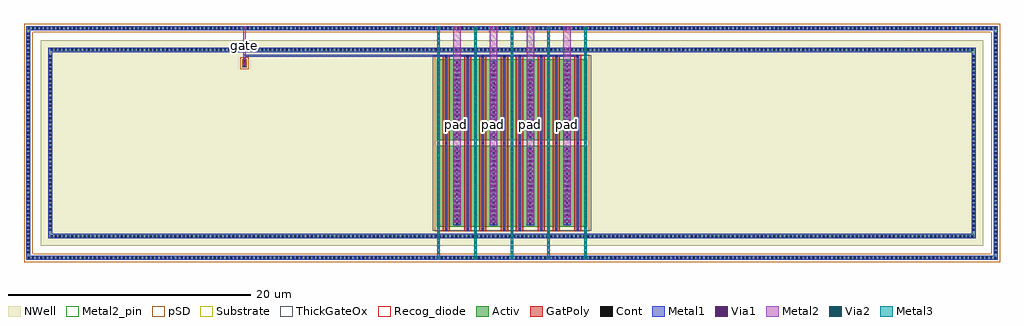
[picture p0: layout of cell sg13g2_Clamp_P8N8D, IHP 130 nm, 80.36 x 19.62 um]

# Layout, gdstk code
import gdstk
lib = gdstk.Library(unit=1e-6, precision=1e-09)
def R(c, l, rs):  # rectangles x0, y0, x1, y1
    for r in rs: c.add(gdstk.rectangle(r[:2], r[2:], *l))
def A(c, l, x, y, w, h, nx, ny, dx, dy):  # array of equal rectangles
    R(c, l, [(x+i*dx, y+j*dy, x+i*dx+w, y+j*dy+h) for i in range(nx) for j in range(ny)])
def P(c, l, *ps):  # polygons
    for p in ps: c.add(gdstk.Polygon(p, *l))
Activ = (1, 0)
GatPoly = (5, 0)
Cont = (6, 0)
Metal1 = (8, 0)
Metal2 = (10, 0)
Metal2_pin = (10, 2)
pSD = (14, 0)
Via1 = (19, 0)
Via2 = (29, 0)
Metal3 = (30, 0)
NWell = (31, 0)
Substrate = (40, 0)
ThickGateOx = (44, 0)
Recog_diode = (99, 31)

sg13g2_guardring_p16000w = lib.new_cell('sg13g2_GuardRing_P16000W3852HFF')
P(sg13g2_guardring_p16000w, Activ, [(-40,-9.63),(-40,9.29),(-39.66,9.29),(-39.66,-9.29),(39.66,-9.29),(39.66,9.29),(-40,9.29),(-40,9.63),(40,9.63),(40,-9.63)])
A(sg13g2_guardring_p16000w, Cont, -39.86, -9.54, 0.16, 0.16, 235, 2, 0.34, 18.92)
A(sg13g2_guardring_p16000w, Cont, -39.91, -9.09, 0.16, 0.16, 1, 54, 0, 0.34)
A(sg13g2_guardring_p16000w, Cont, 39.75, -9.09, 0.16, 0.16, 1, 54, 0, 0.34)
P(sg13g2_guardring_p16000w, Metal1, [(-40,-9.63),(-40,9.29),(-39.66,9.29),(-39.66,-9.29),(39.66,-9.29),(39.66,9.29),(-40,9.29),(-40,9.63),(40,9.63),(40,-9.63)])
P(sg13g2_guardring_p16000w, pSD, [(-40.18,-9.81),(-40.18,9.11),(-39.48,9.11),(-39.48,-9.11),(39.48,-9.11),(39.48,9.11),(-40.18,9.11),(-40.18,9.81),(40.18,9.81),(40.18,-9.81)])
P(sg13g2_guardring_p16000w, Substrate, [(-40,-9.63),(-40,9.29),(-39.66,9.29),(-39.66,-9.29),(39.66,-9.29),(39.66,9.29),(-40,9.29),(-40,9.63),(40,9.63),(40,-9.63)])
sg13g2_guardring_p16000w.add(gdstk.Label('sub!', (-39.83,-9.46), layer=63, texttype=0))

sg13g2_guardring_n15280w = lib.new_cell('sg13g2_GuardRing_N15280W3132HTF')
P(sg13g2_guardring_n15280w, Activ, [(-38.2,-7.83),(-38.2,7.49),(-37.86,7.49),(-37.86,-7.49),(37.86,-7.49),(37.86,7.49),(-38.2,7.49),(-38.2,7.83),(38.2,7.83),(38.2,-7.83)])
A(sg13g2_guardring_n15280w, Cont, -37.99, -7.74, 0.16, 0.16, 224, 2, 0.34, 15.32)
A(sg13g2_guardring_n15280w, Cont, -38.11, -7.22, 0.16, 0.16, 1, 43, 0, 0.34)
A(sg13g2_guardring_n15280w, Cont, 37.95, -7.22, 0.16, 0.16, 1, 43, 0, 0.34)
P(sg13g2_guardring_n15280w, Metal1, [(-38.2,-7.83),(-38.2,7.49),(-37.86,7.49),(-37.86,-7.49),(37.86,-7.49),(37.86,7.49),(-38.2,7.49),(-38.2,7.83),(38.2,7.83),(38.2,-7.83)])
R(sg13g2_guardring_n15280w, NWell, [(-38.82,-8.45,38.82,8.45)])

sg13g2_clamp_p8n8d = lib.new_cell('sg13g2_Clamp_P8N8D')
R(sg13g2_clamp_p8n8d, Activ, [(33.81,2.75,46.19,9.41), (33.81,9.85,46.19,16.51), (17.825,15.87,18.125,16.51)])
R(sg13g2_clamp_p8n8d, GatPoly, [(34.28,2.38,34.88,16.88), (36.06,2.38,36.66,16.88), (37.3,2.38,37.9,16.88), (39.08,2.38,39.68,16.88), (40.32,2.38,40.92,16.88), (42.1,2.38,42.7,16.88), (43.34,2.38,43.94,16.88), (45.12,2.38,45.72,16.88)])
A(sg13g2_clamp_p8n8d, Cont, 34.5, 2.45, 0.16, 0.16, 1, 3, 0, 7.1)
A(sg13g2_clamp_p8n8d, Cont, 36.28, 2.45, 0.16, 0.16, 1, 3, 0, 7.1)
A(sg13g2_clamp_p8n8d, Cont, 37.52, 2.45, 0.16, 0.16, 1, 3, 0, 7.1)
A(sg13g2_clamp_p8n8d, Cont, 39.3, 2.45, 0.16, 0.16, 1, 3, 0, 7.1)
A(sg13g2_clamp_p8n8d, Cont, 40.54, 2.45, 0.16, 0.16, 1, 3, 0, 7.1)
A(sg13g2_clamp_p8n8d, Cont, 42.32, 2.45, 0.16, 0.16, 1, 3, 0, 7.1)
A(sg13g2_clamp_p8n8d, Cont, 43.56, 2.45, 0.16, 0.16, 1, 3, 0, 7.1)
A(sg13g2_clamp_p8n8d, Cont, 45.34, 2.45, 0.16, 0.16, 1, 3, 0, 7.1)
A(sg13g2_clamp_p8n8d, Cont, 33.88, 2.94, 0.16, 0.16, 9, 19, 1.51, 0.34)
A(sg13g2_clamp_p8n8d, Cont, 33.88, 10.04, 0.16, 0.16, 9, 19, 1.51, 0.34)
R(sg13g2_clamp_p8n8d, Cont, [(17.895,15.94,18.055,16.1), (17.895,16.28,18.055,16.44)])
A(sg13g2_clamp_p8n8d, Metal1, 33.855, 1.8, 0.21, 0.34, 5, 2, 3.02, 15.32)
A(sg13g2_clamp_p8n8d, Metal1, 33.855, 2.86, 0.21, 6.44, 5, 2, 3.02, 7.1)
A(sg13g2_clamp_p8n8d, Metal1, 35.16, 2.86, 0.62, 6.44, 4, 2, 3.02, 7.1)
P(sg13g2_clamp_p8n8d, Metal1, [(34.5,2.37),(34.5,16.73),(18.08,16.73),(18.08,15.86),(17.87,15.86),(17.87,16.89),(45.5,16.89),(45.5,2.37),(45.34,2.37),(45.34,16.73),(43.72,16.73),(43.72,2.37),(43.56,2.37),(43.56,16.73),(42.48,16.73),(42.48,2.37),(42.32,2.37),(42.32,16.73),(40.7,16.73),(40.7,2.37),(40.54,2.37),(40.54,16.73),(39.46,16.73),(39.46,2.37),(39.3,2.37),(39.3,16.73),(37.68,16.73),(37.68,2.37),(37.52,2.37),(37.52,16.73),(36.44,16.73),(36.44,2.37),(36.28,2.37),(36.28,16.73),(34.66,16.73),(34.66,2.37)])
A(sg13g2_clamp_p8n8d, Metal2, 33.86, 0, 0.2, 19.26, 5, 1, 3.02, 0)
A(sg13g2_clamp_p8n8d, Metal2, 35.165, 3.065, 0.61, 16.195, 4, 1, 3.02, 0)
R(sg13g2_clamp_p8n8d, Metal2, [(17.875,16.025,18.075,19.26)])
A(sg13g2_clamp_p8n8d, Metal2_pin, 35.165, 3.065, 0.61, 16.195, 4, 1, 3.02, 0)
R(sg13g2_clamp_p8n8d, Metal2_pin, [(17.875,16.025,18.075,19.26)])
R(sg13g2_clamp_p8n8d, pSD, [(33.63,2.35,46.37,16.91), (17.645,15.69,18.305,16.69)])
A(sg13g2_clamp_p8n8d, Via1, 33.865, 1.875, 0.19, 0.19, 5, 2, 3.02, 15.32)
A(sg13g2_clamp_p8n8d, Via1, 33.865, 3.115, 0.19, 0.19, 1, 15, 0, 0.41)
A(sg13g2_clamp_p8n8d, Via1, 35.17, 3.115, 0.19, 0.19, 1, 15, 0, 0.41)
A(sg13g2_clamp_p8n8d, Via1, 35.58, 3.115, 0.19, 0.19, 3, 15, 1.305, 0.41)
A(sg13g2_clamp_p8n8d, Via1, 38.6, 3.115, 0.19, 0.19, 3, 15, 1.305, 0.41)
A(sg13g2_clamp_p8n8d, Via1, 41.62, 3.115, 0.19, 0.19, 3, 15, 1.305, 0.41)
A(sg13g2_clamp_p8n8d, Via1, 44.64, 3.115, 0.19, 0.19, 1, 15, 0, 0.41)
A(sg13g2_clamp_p8n8d, Via1, 45.945, 3.115, 0.19, 0.19, 1, 15, 0, 0.41)
A(sg13g2_clamp_p8n8d, Via1, 33.865, 10.215, 0.19, 0.19, 1, 15, 0, 0.41)
A(sg13g2_clamp_p8n8d, Via1, 35.17, 10.215, 0.19, 0.19, 1, 15, 0, 0.41)
A(sg13g2_clamp_p8n8d, Via1, 35.58, 10.215, 0.19, 0.19, 3, 15, 1.305, 0.41)
A(sg13g2_clamp_p8n8d, Via1, 38.6, 10.215, 0.19, 0.19, 3, 15, 1.305, 0.41)
A(sg13g2_clamp_p8n8d, Via1, 41.62, 10.215, 0.19, 0.19, 3, 15, 1.305, 0.41)
A(sg13g2_clamp_p8n8d, Via1, 44.64, 10.215, 0.19, 0.19, 1, 15, 0, 0.41)
A(sg13g2_clamp_p8n8d, Via1, 45.945, 10.215, 0.19, 0.19, 1, 15, 0, 0.41)
R(sg13g2_clamp_p8n8d, Via1, [(17.88,16.075,18.07,16.265), (17.88,16.485,18.07,16.675)])
A(sg13g2_clamp_p8n8d, Via2, 33.865, 0.105, 0.19, 0.19, 5, 47, 3.02, 0.41)
A(sg13g2_clamp_p8n8d, Metal3, 33.86, 0.055, 0.2, 19.15, 5, 1, 3.02, 0)
R(sg13g2_clamp_p8n8d, NWell, [(33.19,2.13,46.81,17.13), (17.205,15.25,18.745,17.13)])
R(sg13g2_clamp_p8n8d, ThickGateOx, [(33.47,2.41,46.53,16.85)])
R(sg13g2_clamp_p8n8d, Recog_diode, [(17.805,15.85,18.145,16.53)])
sg13g2_clamp_p8n8d.add(gdstk.Reference(sg13g2_guardring_p16000w, (40,9.63)))
sg13g2_clamp_p8n8d.add(gdstk.Reference(sg13g2_guardring_n15280w, (40,9.63)))
sg13g2_clamp_p8n8d.add(gdstk.Label('pad', (41.51,11.163), layer=10, texttype=25))
sg13g2_clamp_p8n8d.add(gdstk.Label('pad', (35.47,11.163), layer=10, texttype=25))
sg13g2_clamp_p8n8d.add(gdstk.Label('pad', (44.53,11.163), layer=10, texttype=25))
sg13g2_clamp_p8n8d.add(gdstk.Label('pad', (38.49,11.163), layer=10, texttype=25))
sg13g2_clamp_p8n8d.add(gdstk.Label('gate', (17.975,17.643), layer=10, texttype=25))

lib.write_gds('sg13g2_Clamp_P8N8D.gds')
